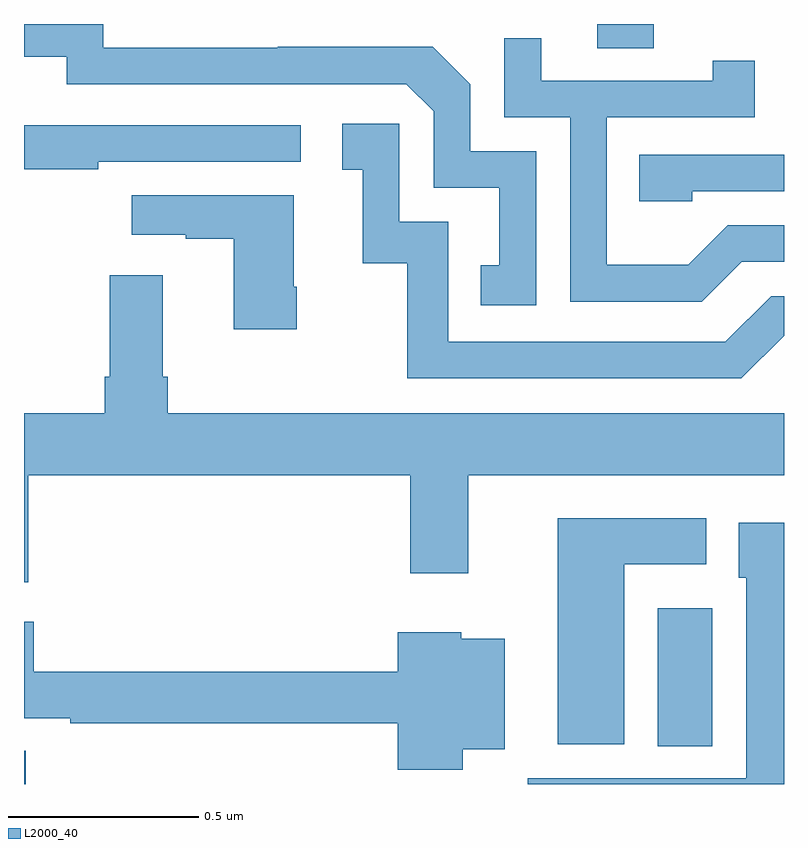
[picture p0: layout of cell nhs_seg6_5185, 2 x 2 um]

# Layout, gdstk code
import gdstk
lib = gdstk.Library(unit=1e-6, precision=1e-09)
def R(c, l, rs):  # rectangles x0, y0, x1, y1
    for r in rs: c.add(gdstk.rectangle(r[:2], r[2:], *l))
def P(c, l, *ps):  # polygons
    for p in ps: c.add(gdstk.Polygon(p, *l))
L2000_40 = (2000, 40)

nhs_seg6_5185 = lib.new_cell('nhs_seg6_5185')
R(nhs_seg6_5185, L2000_40, [(179,970.5,179.004,970.588), (180.668,970.6,180.811,970.963), (180.509,972.436,180.657,972.5)])
P(nhs_seg6_5185, L2000_40, [(180.348,972.165),(180.174,972.165),(180.174,972.342),(180.076,972.44),(179.668,972.44),(179.668,972.438),(179.208,972.438),(179.208,972.5),(179,972.5),(179,972.414),(179.112,972.414),(179.112,972.342),(180.006,972.342),(180.078,972.27),(180.078,972.069),(180.251,972.069),(180.251,971.865),(180.202,971.865),(180.202,971.76),(180.348,971.76)],
  [(180.889,971.874),(181,971.874),(181,971.97),(180.852,971.97),(180.748,971.866),(180.534,971.866),(180.534,972.255),(180.923,972.255),(180.923,972.403),(180.812,972.403),(180.812,972.351),(180.361,972.351),(180.361,972.463),(180.264,972.463),(180.264,972.255),(180.438,972.255),(180.438,971.769),(180.784,971.769)],
  [(181,971.68),(181,971.784),(180.966,971.784),(180.846,971.664),(180.117,971.664),(180.117,971.979),(179.988,971.979),(179.988,972.238),(179.838,972.238),(179.838,972.117),(179.891,972.117),(179.891,971.871),(180.009,971.871),(180.009,971.568),(180.888,971.568)],
  [(179.195,972.138),(179.728,972.138),(179.728,972.234),(179,972.234),(179,972.118),(179.195,972.118)],
  [(180.759,972.06),(181,972.06),(181,972.156),(180.619,972.156),(180.619,972.033),(180.759,972.033)],
  [(179.718,971.809),(179.71,971.809),(179.71,972.049),(179.283,972.049),(179.283,971.945),(179.426,971.945),(179.426,971.935),(179.552,971.935),(179.552,971.697),(179.718,971.697)],
  [(179.011,971.312),(180.017,971.312),(180.017,971.055),(180.169,971.055),(180.169,971.312),(181,971.312),(181,971.476),(179.378,971.476),(179.378,971.572),(179.365,971.572),(179.365,971.839),(179.225,971.839),(179.225,971.572),(179.213,971.572),(179.213,971.476),(179,971.476),(179,971.031),(179.011,971.031)],
  [(180.58,971.078),(180.796,971.078),(180.796,971.2),(180.404,971.2),(180.404,970.604),(180.58,970.604)],
  [(181,971.188),(180.881,971.188),(180.881,971.043),(180.9,971.043),(180.9,970.515),(180.326,970.515),(180.326,970.5),(181,970.5)],
  [(180.154,970.592),(180.265,970.592),(180.265,970.882),(180.15,970.882),(180.15,970.9),(179.984,970.9),(179.984,970.796),(179.026,970.796),(179.026,970.927),(179,970.927),(179,970.673),(179.122,970.673),(179.122,970.66),(179.984,970.66),(179.984,970.538),(180.154,970.538)])

lib.write_gds('nhs_seg6_5185.gds')
